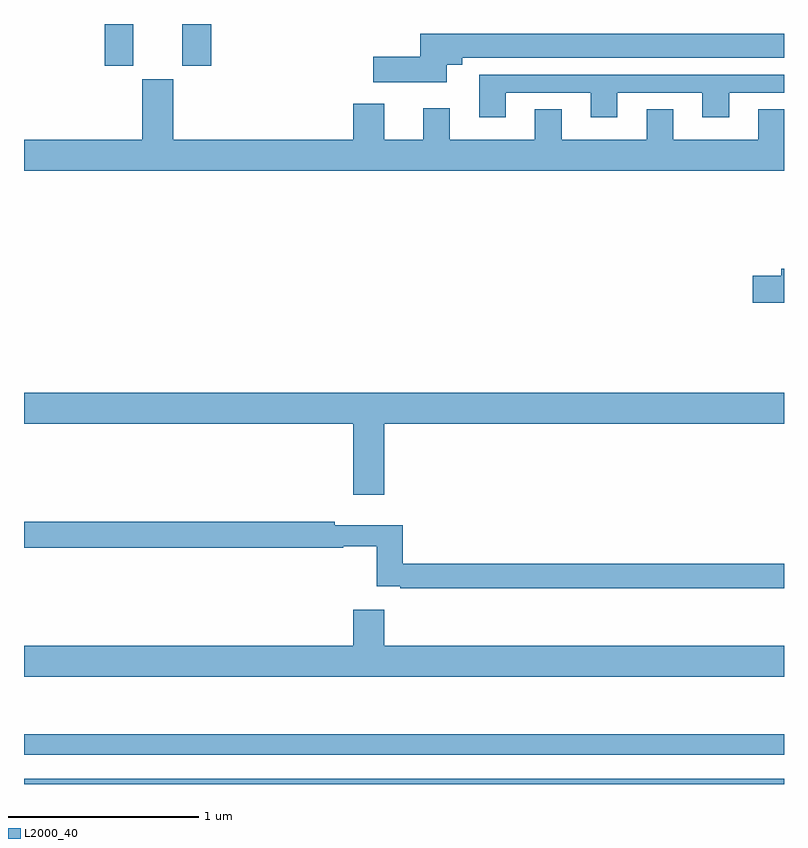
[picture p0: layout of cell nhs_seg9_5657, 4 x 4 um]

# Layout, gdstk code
import gdstk
lib = gdstk.Library(unit=1e-6, precision=1e-09)
def R(c, l, rs):  # rectangles x0, y0, x1, y1
    for r in rs: c.add(gdstk.rectangle(r[:2], r[2:], *l))
def P(c, l, *ps):  # polygons
    for p in ps: c.add(gdstk.Polygon(p, *l))
L2000_40 = (2000, 40)

nhs_seg9_5657 = lib.new_cell('nhs_seg9_5657')
R(nhs_seg9_5657, L2000_40, [(439,1218.5,443,1218.528), (439,1218.654,443,1218.763), (439.424,1222.281,439.576,1222.5), (439.832,1222.281,439.985,1222.5)])
P(nhs_seg9_5657, L2000_40, [(441.226,1222.286),(441.307,1222.286),(441.307,1222.322),(443,1222.322),(443,1222.45),(441.086,1222.45),(441.086,1222.328),(440.838,1222.328),(440.838,1222.193),(441.226,1222.193)],
  [(441.535,1222.137),(441.983,1222.137),(441.983,1222.008),(442.123,1222.008),(442.123,1222.137),(442.571,1222.137),(442.571,1222.008),(442.711,1222.008),(442.711,1222.137),(443,1222.137),(443,1222.233),(441.395,1222.233),(441.395,1222.008),(441.535,1222.008)],
  [(443,1222.052),(442.865,1222.052),(442.865,1221.892),(442.417,1221.892),(442.417,1222.052),(442.277,1222.052),(442.277,1221.892),(441.829,1221.892),(441.829,1222.052),(441.689,1222.052),(441.689,1221.892),(441.241,1221.892),(441.241,1222.057),(441.101,1222.057),(441.101,1221.892),(440.896,1221.892),(440.896,1222.081),(440.732,1222.081),(440.732,1221.892),(439.786,1221.892),(439.786,1222.209),(439.622,1222.209),(439.622,1221.892),(439,1221.892),(439,1221.728),(443,1221.728)],
  [(443,1221.212),(442.985,1221.212),(442.985,1221.176),(442.836,1221.176),(442.836,1221.034),(443,1221.034)],
  [(440.896,1220.396),(443,1220.396),(443,1220.56),(439,1220.56),(439,1220.396),(440.732,1220.396),(440.732,1220.022),(440.896,1220.022)],
  [(443,1219.658),(440.993,1219.658),(440.993,1219.861),(440.636,1219.861),(440.636,1219.88),(439,1219.88),(439,1219.744),(440.68,1219.744),(440.68,1219.752),(440.857,1219.752),(440.857,1219.542),(440.98,1219.542),(440.98,1219.53),(443,1219.53)],
  [(443,1219.228),(440.896,1219.228),(440.896,1219.417),(440.732,1219.417),(440.732,1219.228),(439,1219.228),(439,1219.064),(443,1219.064)])

lib.write_gds('nhs_seg9_5657.gds')
